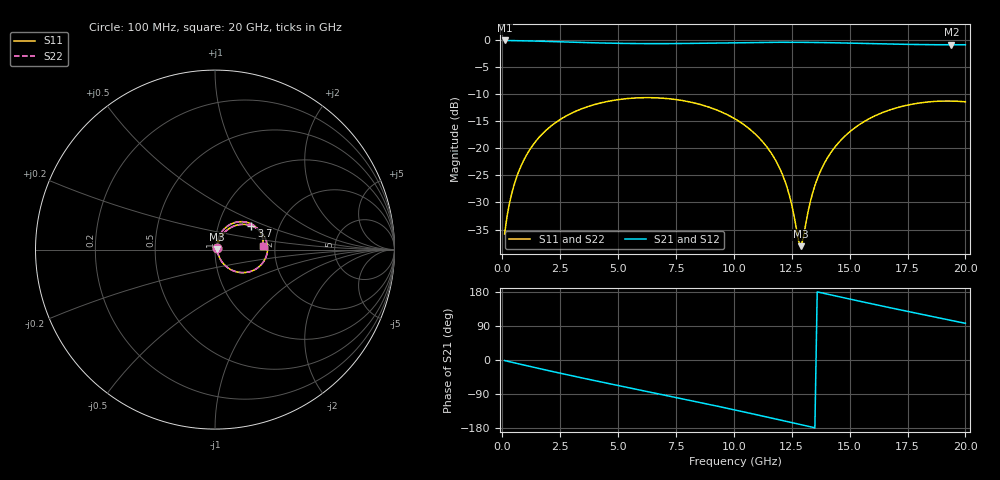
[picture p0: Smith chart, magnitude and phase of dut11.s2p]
! Touchstone file exported from HFSS 2026.1.0
!  File:  C:/ffzhzh/LocalFiles/Ansys_Project_Files/temp_val_TSV_RDL_11_1782976475_6388.aedt
!  Generated:  03:26:53 PM Jul  2, 2026
!  Design:  TSV_RDL
!  Project:  temp_val_TSV_RDL_11_1782976475_6388
! Variables:
!  h_bsmrdl = 5.61um
!  h_ox = 20um
!  h_rdl = 5um
!  h_sub = 59.93um
!  h_tmrdl = 5.25um
!  h_tsv = 59.93um
!  h_via = 3um
!  l_bsmrdl = 907.34um
!  l_sub = 4683.7um
!  l_tmrdl = 351.72um
!  m_sub = 200um
!  pitch = 40.81um
!  r_tsv = 6.6um
!  s_tmrdl = 10um
!  w_bsmrdl = 29.43um
!  w_sub = 500um
!  w_tmrdl = 22.17um
!  x_tsv_center1 = 362.805um
!  x_tsv_center2 = 1299.575um
!  x_tsv_center3 = 1673.465um
!  x_tsv_center4 = 2610.235um
!  x_tsv_center5 = 2984.125um
!  x_tsv_center6 = 3920.895um
# GHz S MA R 50.000000
! Terminal data exported
! Port[1] = TM_RDL1_1_T1
! Port[2] = TM_RDL5_1_T1
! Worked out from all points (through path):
!   200 points, 100 MHz to 20 GHz, reference 50 ohm
!   highest |S21| = -0.11 dB at 100 MHz (marker M1); lowest = -0.9 dB at 19.4 GHz (marker M2)
!   group delay of S21, straight-line fit = 36.5 ps
!   lowest |S11| = -38.1 dB at 12.9 GHz (marker M3), VSWR 1.03, Z = 51.2 + j0.237 ohm
!   |S11| at or under -10 dB: start of sweep to end of sweep
!   |S22| runs from -38.3 to -10.7 dB; largest |S21 - S12| = 3.2e-14
!   S11 on the Smith chart (normalised r, x): 100 MHz: 1.03, +0.02; 3.7 GHz: 1.44, +0.41; 20 GHz: 1.73, +0.08
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0.1  0.01619 36.4  0.9872 -1.5  0.9872 -1.5  0.01619 36.4
! Gamma 0 0 0 0
! Port Impedance 50 0 50 0
0.3  0.03032 56.2  0.9848 -4.4  0.9848 -4.4  0.03032 56.2
0.5  0.04507 62.3  0.9833 -7.2  0.9833 -7.2  0.04507 62.3
1.2  0.09796 62.2  0.977 -17.1  0.977 -17.1  0.09796 62.2
2.2  0.1662 51.5  0.9637 -30.8  0.9637 -30.8  0.1662 51.5
3.5  0.2342 35.7  0.9448 -48.1  0.9448 -48.1  0.2342 35.7
3.7  0.2424 33.2  0.9422 -50.7  0.9422 -50.7  0.2424 33.2
5.2  0.2842 15.1  0.9273 -69.8  0.9273 -69.8  0.2843 15.1
6.8  0.2907 -4.0  0.9227 -89.9  0.9227 -89.9  0.2907 -4.1
8.5  0.255 -24.4  0.9295 -111.6  0.9295 -111.6  0.255 -24.4
10.1  0.1838 -43.6  0.9412 -132.6  0.9412 -132.6  0.1838 -43.6
11.1  0.1241 -54.7  0.9472 -146.0  0.9472 -146.0  0.1241 -54.8
11.9  0.07078 -60.9  0.9496 -156.9  0.9496 -156.9  0.07078 -61.1
12.4  0.03669 -57.8  0.9498 -163.8  0.9498 -163.8  0.03663 -58.3
12.8  0.01383 -18.9  0.949 -169.3  0.949 -169.3  0.01354 -19.7
12.9  0.01249 10.7  0.9487 -170.6  0.9487 -170.6  0.01213 10.5
13.4  0.03851 70.3  0.9465 -177.5  0.9465 -177.5  0.03833 70.8
13.9  0.07204 72.6  0.9433 175.7  0.9433 175.7  0.07191 72.9
14.6  0.1174 67.3  0.9372 166.2  0.9372 166.2  0.1173 67.5
16.7  0.2244 43.5  0.9152 138.6  0.9152 138.6  0.2243 43.7
19.4  0.2725 11.6  0.9005 104.3  0.9005 104.3  0.2724 11.8
20  0.2682 4.6  0.9011 96.7  0.9011 96.7  0.2681 4.7
